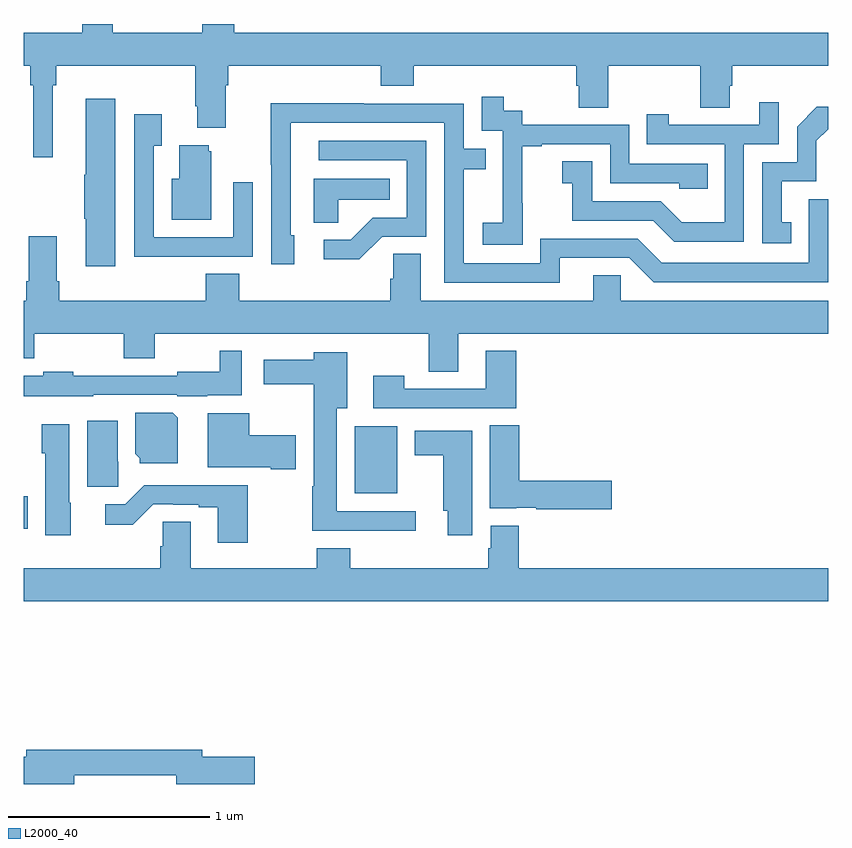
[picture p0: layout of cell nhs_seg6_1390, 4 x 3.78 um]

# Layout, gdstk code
import gdstk
lib = gdstk.Library(unit=1e-6, precision=1e-09)
def R(c, l, rs):  # rectangles x0, y0, x1, y1
    for r in rs: c.add(gdstk.rectangle(r[:2], r[2:], *l))
def P(c, l, *ps):  # polygons
    for p in ps: c.add(gdstk.Polygon(p, *l))
L2000_40 = (2000, 40)

nhs_seg6_1390 = lib.new_cell('nhs_seg6_1390')
R(nhs_seg6_1390, L2000_40, [(195,988.989,195.019,989.15), (196.646,989.165,196.858,989.5)])
P(nhs_seg6_1390, L2000_40, [(195.142,991.196),(195.161,991.196),(195.161,991.292),(195.851,991.292),(195.851,991.09),(195.863,991.09),(195.863,990.983),(196.003,990.983),(196.003,991.196),(196.016,991.196),(196.016,991.292),(196.775,991.292),(196.775,991.193),(196.94,991.193),(196.94,991.292),(197.747,991.292),(197.747,991.194),(197.759,991.194),(197.759,991.084),(197.907,991.084),(197.907,991.292),(198.364,991.292),(198.364,991.084),(198.511,991.084),(198.511,991.194),(198.524,991.194),(198.524,991.292),(199,991.292),(199,991.456),(196.046,991.456),(196.046,991.5),(195.886,991.5),(195.886,991.456),(195.441,991.456),(195.441,991.5),(195.29,991.5),(195.29,991.456),(195,991.456),(195,991.292),(195.032,991.292),(195.032,991.196),(195.045,991.196),(195.045,990.837),(195.142,990.837)],
  [(197.481,990.607),(197.48,990.607),(197.48,990.891),(197.575,990.891),(197.575,990.903),(197.916,990.903),(197.916,990.708),(198.261,990.708),(198.261,990.681),(198.401,990.681),(198.401,990.804),(198.012,990.804),(198.012,990.999),(197.478,990.999),(197.478,991.068),(197.386,991.068),(197.386,991.138),(197.277,991.138),(197.277,990.969),(197.382,990.969),(197.382,990.74),(197.381,990.74),(197.381,990.511),(197.283,990.511),(197.283,990.401),(197.481,990.401)],
  [(195.454,991.129),(195.308,991.129),(195.308,990.749),(195.301,990.749),(195.301,990.532),(195.308,990.532),(195.308,990.294),(195.454,990.294)],
  [(198.582,990.903),(198.756,990.903),(198.756,991.111),(198.659,991.111),(198.659,990.999),(198.208,990.999),(198.208,991.051),(198.097,991.051),(198.097,990.903),(198.486,990.903),(198.486,990.514),(198.272,990.514),(198.168,990.618),(197.826,990.618),(197.826,990.817),(197.679,990.817),(197.679,990.707),(197.728,990.707),(197.728,990.522),(198.131,990.522),(198.236,990.417),(198.582,990.417)],
  [(197.665,990.336),(198.012,990.336),(198.132,990.216),(199,990.216),(199,990.627),(198.903,990.627),(198.903,990.312),(198.174,990.312),(198.054,990.432),(197.568,990.432),(197.568,990.309),(197.187,990.309),(197.187,990.778),(197.297,990.778),(197.297,990.879),(197.187,990.879),(197.187,991.104),(196.691,991.104),(196.691,991.106),(196.228,991.106),(196.228,990.799),(196.23,990.799),(196.23,990.306),(196.345,990.306),(196.345,990.45),(196.326,990.45),(196.326,991.008),(197.091,991.008),(197.091,990.213),(197.665,990.213)],
  [(198.818,990.513),(198.769,990.513),(198.769,990.717),(198.942,990.717),(198.942,990.918),(199,990.976),(199,991.088),(198.944,991.088),(198.846,990.99),(198.846,990.813),(198.672,990.813),(198.672,990.408),(198.818,990.408)],
  [(195.821,990.342),(196.137,990.342),(196.137,990.712),(196.041,990.712),(196.041,990.438),(195.645,990.438),(195.645,990.895),(195.685,990.895),(195.685,991.051),(195.549,991.051),(195.549,990.341),(195.821,990.341)],
  [(196.782,990.441),(197.001,990.441),(197.001,990.918),(196.467,990.918),(196.467,990.822),(196.905,990.822),(196.905,990.537),(196.736,990.537),(196.625,990.426),(196.491,990.426),(196.491,990.329),(196.669,990.329)],
  [(195.931,990.867),(195.92,990.867),(195.92,990.898),(195.773,990.898),(195.773,990.73),(195.734,990.73),(195.734,990.527),(195.931,990.527)],
  [(196.563,990.626),(196.82,990.626),(196.82,990.73),(196.442,990.73),(196.442,990.511),(196.563,990.511)],
  [(197.161,989.96),(199,989.96),(199,990.124),(197.97,990.124),(197.97,990.251),(197.831,990.251),(197.831,990.124),(196.975,990.124),(196.975,990.356),(196.836,990.356),(196.836,990.233),(196.823,990.233),(196.823,990.124),(196.07,990.124),(196.07,990.257),(195.905,990.257),(195.905,990.124),(195.176,990.124),(195.176,990.22),(195.163,990.22),(195.163,990.445),(195.023,990.445),(195.023,990.22),(195.011,990.22),(195.011,990.124),(195,990.124),(195,989.836),(195.051,989.836),(195.051,989.96),(195.496,989.96),(195.496,989.836),(195.651,989.836),(195.651,989.96),(197.014,989.96),(197.014,989.77),(197.161,989.77)],
  [(197.45,989.875),(197.297,989.875),(197.297,989.685),(196.893,989.685),(196.893,989.749),(196.737,989.749),(196.737,989.589),(197.45,989.589)],
  [(195.345,989.655),(195.762,989.655),(195.762,989.648),(195.912,989.648),(195.912,989.654),(196.083,989.654),(196.083,989.875),(195.975,989.875),(195.975,989.77),(195.762,989.77),(195.762,989.751),(195.246,989.751),(195.246,989.769),(195.096,989.769),(195.096,989.751),(195,989.751),(195,989.648),(195.345,989.648)],
  [(196.948,989.076),(196.555,989.076),(196.555,989.588),(196.609,989.588),(196.609,989.866),(196.442,989.866),(196.442,989.83),(196.194,989.83),(196.194,989.708),(196.442,989.708),(196.442,989.201),(196.435,989.201),(196.435,988.979),(196.948,988.979)],
  [(195.766,989.54),(195.74,989.566),(195.554,989.566),(195.554,989.362),(195.576,989.34),(195.576,989.315),(195.766,989.315)],
  [(196.351,989.455),(196.12,989.455),(196.12,989.564),(195.914,989.564),(195.914,989.294),(196.227,989.294),(196.227,989.285),(196.351,989.285)],
  [(195.47,989.322),(195.466,989.322),(195.466,989.527),(195.314,989.527),(195.314,989.199),(195.47,989.199)],
  [(195.232,989.118),(195.226,989.118),(195.226,989.509),(195.089,989.509),(195.089,989.364),(195.107,989.364),(195.107,988.956),(195.232,988.956)],
  [(197.923,989.228),(197.465,989.228),(197.465,989.504),(197.318,989.504),(197.318,989.09),(197.448,989.09),(197.448,989.093),(197.548,989.093),(197.548,989.086),(197.923,989.086)],
  [(197.23,989.476),(196.943,989.476),(196.943,989.354),(197.087,989.354),(197.087,989.079),(197.108,989.079),(197.108,988.956),(197.23,988.956)],
  [(196.113,989.206),(195.598,989.206),(195.504,989.112),(195.405,989.112),(195.405,989.01),(195.54,989.01),(195.642,989.112),(195.742,989.112),(195.742,989.109),(195.869,989.109),(195.869,989.097),(195.965,989.097),(195.965,988.92),(196.113,988.92)],
  [(199,988.792),(197.462,988.792),(197.462,989.005),(197.321,989.005),(197.321,988.893),(197.309,988.893),(197.309,988.792),(196.622,988.792),(196.622,988.891),(196.457,988.891),(196.457,988.792),(195.829,988.792),(195.829,989.024),(195.69,989.024),(195.69,988.902),(195.677,988.902),(195.677,988.792),(195,988.792),(195,988.628),(199,988.628)],
  [(195.25,987.762),(195.758,987.762),(195.758,987.719),(196.147,987.719),(196.147,987.854),(195.886,987.854),(195.886,987.89),(195.011,987.89),(195.011,987.854),(195,987.854),(195,987.719),(195.25,987.719)])

lib.write_gds('nhs_seg6_1390.gds')
